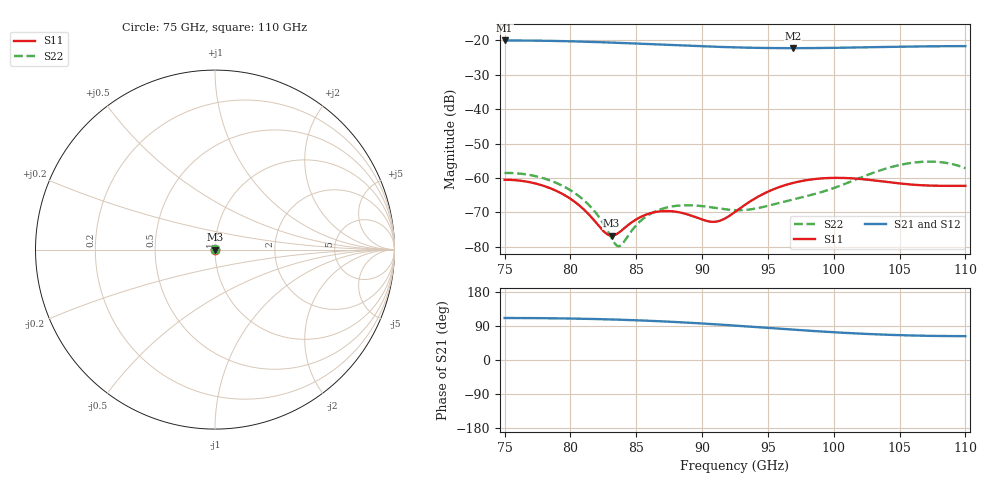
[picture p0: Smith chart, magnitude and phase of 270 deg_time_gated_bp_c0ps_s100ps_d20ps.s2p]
# Hz S RI R 50.000000
! Metas.Vna.Tools, 2.4.7724.19584
! Metas.Vna.Data, 2.4.7724.19560
! Created: UTC 2021.04.29 12:40:11
! FREQ  re:S1,1  im:S1,1  re:S2,1  im:S2,1  re:S1,2  im:S1,2  re:S2,2  im:S2,2
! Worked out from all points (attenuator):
!   1401 points, 75 GHz to 110 GHz, reference 50 ohm
!   highest |S21| = -20.03 dB at 75 GHz (marker M1); lowest = -22.3 dB at 96.9 GHz (marker M2)
!   lowest |S11| = -76.8 dB at 83.12 GHz (marker M3), VSWR 1.00, Z = 50 + j0.00214 ohm
!   |S11| at or under -10 dB: start of sweep to end of sweep
!   |S22| runs from -79.8 to -55.2 dB; largest |S21 - S12| = 0.003
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7.5e10  -9.23e-05 -0.000938  -0.0354 0.0931  -0.0384 0.0928  0.000705 0.000948
7.8225e10  -0.000126 -0.000728  -0.0341 0.0924  -0.037 0.0921  0.000354 0.000885
7.9625e10  -0.000148 -0.000533  -0.0327 0.0916  -0.0356 0.0914  0.000208 0.000699
8.085e10  -0.000161 -0.000336  -0.0311 0.0907  -0.0339 0.0905  9.6e-05 0.000498
8.205e10  -0.000159 -0.000141  -0.0291 0.0897  -0.0319 0.0895  3.13e-06 0.000291
8.2675e10  -0.000152 -4.42e-05  -0.028 0.0892  -0.0307 0.089  -3.87e-05 0.000187
8.3125e10  -0.000143 2.14e-05  -0.0271 0.0887  -0.0298 0.0886  -6.61e-05 0.000115
8.35e10  -0.000134 7.27e-05  -0.0263 0.0884  -0.029 0.0882  -8.72e-05 5.85e-05
8.38e10  -0.000125 0.000111  -0.0257 0.0881  -0.0284 0.0879  -0.000103 1.53e-05
8.5275e10  -6.57e-05 0.00026  -0.0223 0.0865  -0.0249 0.0864  -0.000165 -0.000164
8.6675e10  1.08e-05 0.000325  -0.0188 0.085  -0.0211 0.0849  -0.000199 -0.000277
8.85e10  0.00012 0.000285  -0.0137 0.083  -0.0158 0.0829  -0.0002 -0.000347
9.0825e10  0.000225 4.93e-05  -0.00653 0.0806  -0.00823 0.0805  -0.00012 -0.000351
9.155e10  0.000241 -5.59e-05  -0.0042 0.0799  -0.00576 0.0798  -7.88e-05 -0.000346
9.25e10  0.000245 -0.000207  -0.00112 0.079  -0.00247 0.0789  -1.77e-05 -0.00034
9.4675e10  0.000181 -0.000561  0.00603 0.0773  0.00518 0.0771  0.000119 -0.000361
9.69e10  1.82e-05 -0.000846  0.0132 0.0759  0.0129 0.0756  0.000169 -0.000457
9.835e10  -0.00012 -0.000946  0.0177 0.0752  0.0178 0.0748  0.000102 -0.000562
1.00875e11  -0.00037 -0.000927  0.0247 0.0743  0.0255 0.0738  -0.000244 -0.000788
1.04175e11  -0.000618 -0.000611  0.032 0.0737  0.0334 0.0731  -0.000969 -0.00102
1.07275e11  -0.000729 -0.000262  0.0362 0.0734  0.038 0.0728  -0.00143 -0.000977
1.1e11  -0.000755 -0.000136  0.0375 0.0734  0.0394 0.0727  -0.00123 -0.000642
